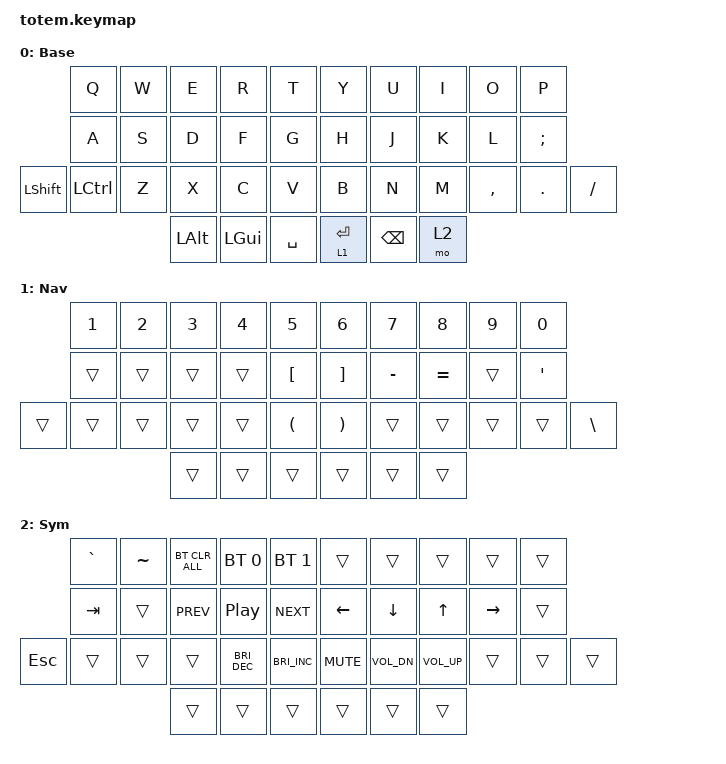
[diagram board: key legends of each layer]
//
//                                                        ▀▀▀▀▀     ▀▀▀▀▀          ▀▀█▀▀
//                                                        ▄▀▀▀▄  ▄  ▄▀▀▀▄  ▄  ▄▀▀▀▄  █  ▄▀▀▀▄
//                                                        █   █  █  █   █  █  █   █  █  █   █
//                                                         ▀▀▀   █   ▀▀▀   █   ▀▀▀   ▀   ▀▀▀
//                                                               █      ▄▄▄█▄▄▄    █   █  
//                                                               ▀      █  █  █     █▄█
//                                                             ▀▀▀▀▀    █  █  █      ▀
//                                                                      ▀  ▀  ▀
//
// ▄▄▄▄▄▄▄▄▄▄▄▄▄▄▄▄▄▄▄▄▄▄▄▄▄▄▄▄▄▄▄▄▄▄▄▄▄▄▄▄▄▄▄▄▄▄▄▄▄▄▄▄▄▄▄▄▄▄▄▄▄▄▄▄▄▄▄▄▄▄▄▄▄▄▄▄▄▄▄▄▄▄▄▄▄▄▄▄▄▄▄▄▄▄▄▄▄▄▄▄▄▄▄▄▄▄▄▄▄▄▄▄▄▄▄▄▄▄▄▄▄▄▄▄▄▄▄▄▄▄▄▄▄▄▄▄▄▄▄▄▄▄▄▄▄▄▄▄▄

#include <behaviors.dtsi>
#include <dt-bindings/zmk/bt.h>
#include <dt-bindings/zmk/keys.h>

#define Base        0
#define Media       1
#define Nav         2
#define Mouse       3
#define Sym         4
#define Num         5
#define Fun         6
#define Button      7
#define Game        8
#define Gameplus    9

&mt {
    quick-tap-ms = <100>;
    global-quick-tap;
    flavor = "tap-preferred";
    tapping-term-ms = <170>;
};

&lt {
    tapping-term-ms = <240>;
    flavor = "balanced";
    quick-tap-ms = <150>;
};

/ {
    behaviors {
        hm: homerow_mods {
            compatible = "zmk,behavior-hold-tap";
            label = "HOMEROW_MODS";
            #binding-cells = <2>;
            flavor = "tap-preferred";
            tapping-term-ms = <200>;
            quick-tap-ms = <125>;
            global-quick-tap;
            bindings = <&kp>, <&kp>;
        };
    };

    combos { compatible = "zmk,combos"; };

    keymap {
        compatible = "zmk,keymap";

        Base {
            label = "Base";
            bindings = <
           &kp Q      &kp W  &kp E         &kp R     &kp T        &kp Y      &kp U     &kp I  &kp O      &kp P
           &kp A      &kp S  &kp D         &kp F     &kp G        &kp H      &kp J     &kp K  &kp L      &kp SEMI
&kp LSHFT  &kp LCTRL  &kp Z  &kp X         &kp C     &kp V        &kp B      &kp N     &kp M  &kp COMMA  &kp DOT   &kp FSLH
                             &kp LEFT_ALT  &kp LGUI  &kp SPACE    &lt 1 RET  &kp BSPC  &mo 2
            >;
        };

        Nav {
            label = "Nav";
            bindings = <
        &kp N1  &kp N2  &kp N3  &kp N4  &kp N5      &kp N6    &kp N7     &kp N8     &kp N9  &kp N0
        &trans  &trans  &trans  &trans  &kp LBKT    &kp RBKT  &kp MINUS  &kp EQUAL  &trans  &kp SQT
&trans  &trans  &trans  &trans  &trans  &kp LPAR    &kp RPAR  &trans     &trans     &trans  &trans   &kp BACKSLASH
                        &trans  &trans  &trans      &trans    &trans     &trans
            >;
        };

        Sym {
            bindings = <
         &kp GRAVE  &kp TILDE  &bt BT_CLR_ALL  &bt BT_SEL 0      &bt BT_SEL 1            &trans      &trans        &trans        &trans     &trans
         &kp TAB    &trans     &kp C_PREV      &kp C_PLAY_PAUSE  &kp C_NEXT              &kp LEFT    &kp DOWN      &kp UP        &kp RIGHT  &trans
&kp ESC  &trans     &trans     &trans          &kp C_BRI_DEC     &kp C_BRIGHTNESS_INC    &kp C_MUTE  &kp C_VOL_DN  &kp C_VOL_UP  &trans     &trans  &trans
                               &trans          &trans            &trans                  &trans      &trans        &trans
            >;
        };
    };
};
